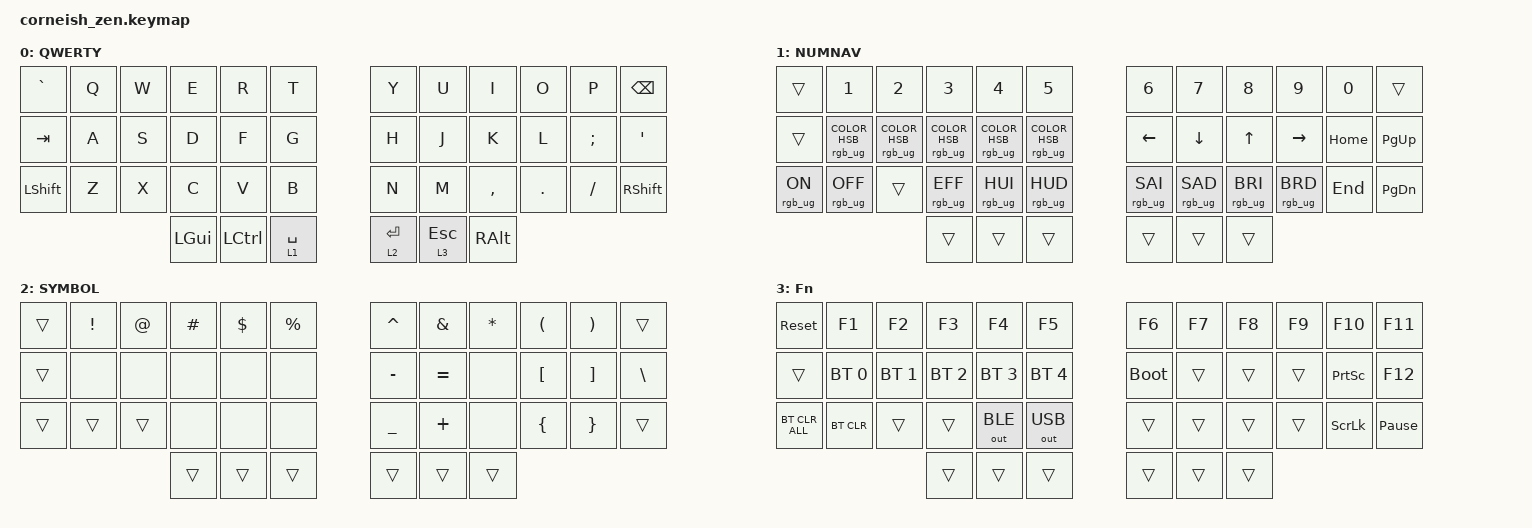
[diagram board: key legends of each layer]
/*
 * Copyright (c) 2020 The ZMK Contributors
 *
 * SPDX-License-Identifier: MIT
 */

#include <behaviors.dtsi>
#include <dt-bindings/zmk/bt.h>
#include <dt-bindings/zmk/keys.h>
#include <dt-bindings/zmk/outputs.h>
#include <dt-bindings/zmk/rgb.h>

/ {
    chosen {
        zmk,matrix_transform = &default_transform;

        // zmk,matrix_transform = &five_column_transform;
    };
};

/ {
    behaviors {
        td0: td0 {
            compatible = "zmk,behavior-tap-dance";
            label = "TD0";
            #binding-cells = <0>;
            bindings = <&kp LEFT_SHIFT>, <&kp CAPS>;
        };
    };

    keymap {
        compatible = "zmk,keymap";

        default_layer {
            display-name = "QWERTY";

            // --------------------------------------------------------------------------------
            // |  TAB |  Q  |  W  |  E  |  R  |  T  |   |  Y  |  U   |  I  |  O  |  P  | BKSP |
            // | CTRL |  A  |  S  |  D  |  F  |  G  |   |  H  |  J   |  K  |  L  |  ;  |  '   | 
            // | SHFT |  Z  |  X  |  C  |  V  |  B  |   |  N  |  M   |  ,  |  .  |  /  | ESC  |
            //                    | GUI | LWR | SPC |   | ENT | RSE  | ALT |

            bindings = <
&kp GRAVE       &kp Q  &kp W  &kp E     &kp R      &kp T          &kp Y        &kp U      &kp I      &kp O    &kp P     &kp BACKSPACE
&kp TAB         &kp A  &kp S  &kp D     &kp F      &kp G          &kp H        &kp J      &kp K      &kp L    &kp SEMI  &kp SQT
&kp LEFT_SHIFT  &kp Z  &kp X  &kp C     &kp V      &kp B          &kp N        &kp M      &kp COMMA  &kp DOT  &kp FSLH  &kp RIGHT_SHIFT
                              &kp LGUI  &kp LCTRL  &lt 1 SPACE    &lt 2 ENTER  &lt 3 ESC  &kp RALT
            >;
        };

        lower_layer {
            display-name = "NUMNAV";

            // -----------------------------------------------------------------------------------------
            // |  TAB |  1  |  2  |  3  |  4  |  5  |   |  6  |  7  |  8  |  9  |  0  | BKSP |
            // | BTCLR| BT1 | BT2 | BT3 | BT4 | BT5 |   | LFT | DWN |  UP | RGT |     |      |
            // | SHFT |     |     |     |     |     |   |     |     |     |     |     |      |
            //                    | GUI |     | SPC |   | ENT |     | ALT |

            bindings = <
&trans          &kp N1                           &kp N2                             &kp N3                             &kp N4                             &kp N5                              &kp N6           &kp N7           &kp N8           &kp N9           &kp N0    &trans
&trans          &rgb_ug RGB_COLOR_HSB(0,100,49)  &rgb_ug RGB_COLOR_HSB(208,100,50)  &rgb_ug RGB_COLOR_HSB(109,100,52)  &rgb_ug RGB_COLOR_HSB(271,100,50)  &rgb_ug RGB_COLOR_HSB(67,100,49)    &kp LEFT         &kp DOWN         &kp UP           &kp RIGHT        &kp HOME  &kp PG_UP
&rgb_ug RGB_ON  &rgb_ug RGB_OFF                  &trans                             &rgb_ug RGB_EFF                    &rgb_ug RGB_HUI                    &rgb_ug RGB_HUD                     &rgb_ug RGB_SAI  &rgb_ug RGB_SAD  &rgb_ug RGB_BRI  &rgb_ug RGB_BRD  &kp END   &kp PG_DN
                                                                                    &trans                             &trans                             &trans                              &trans           &trans           &trans
            >;
        };

        raise_layer {
            display-name = "SYMBOL";

            // -----------------------------------------------------------------------------------------
            // |  TAB |  !  |  @  |  #  |  $  |  %  |   |  ^  |  &  |  *  |  (  |  )  | BKSP |
            // | CTRL |     |     |     |     |     |   |  -  |  =  |  [  |  ]  |  \  |  `   |
            // | SHFT |     |     |     |     |     |   |  _  |  +  |  {  |  }  | "|" |  ~   |
            //                    | GUI |     | SPC |   | ENT |     | ALT |

            bindings = <
&trans  &kp EXCL  &kp AT  &kp HASH  &kp DLLR  &kp PRCNT    &kp CARET  &kp AMPS   &kp ASTRK  &kp LPAR          &kp RPAR           &trans
&trans  &none     &none   &none     &none     &none        &kp MINUS  &kp EQUAL  &none      &kp LEFT_BRACKET  &kp RIGHT_BRACKET  &kp BACKSLASH
&trans  &trans    &trans  &none     &none     &none        &kp UNDER  &kp PLUS   &none      &kp LEFT_BRACE    &kp RIGHT_BRACE    &trans
                          &trans    &trans    &trans       &trans     &trans     &trans
            >;
        };

        layer_3 {
            display-name = "Fn";
            bindings = <
&sys_reset      &kp F1        &kp F2        &kp F3        &kp F4        &kp F5          &kp F6       &kp F7  &kp F8  &kp F9  &kp F10          &kp F11
&trans          &bt BT_SEL 0  &bt BT_SEL 1  &bt BT_SEL 2  &bt BT_SEL 3  &bt BT_SEL 4    &bootloader  &trans  &trans  &trans  &kp PRINTSCREEN  &kp F12
&bt BT_CLR_ALL  &bt BT_CLR    &trans        &trans        &out OUT_BLE  &out OUT_USB    &trans       &trans  &trans  &trans  &kp SCROLLLOCK   &kp PAUSE_BREAK
                                            &trans        &trans        &trans          &trans       &trans  &trans
            >;
        };
    };
};
